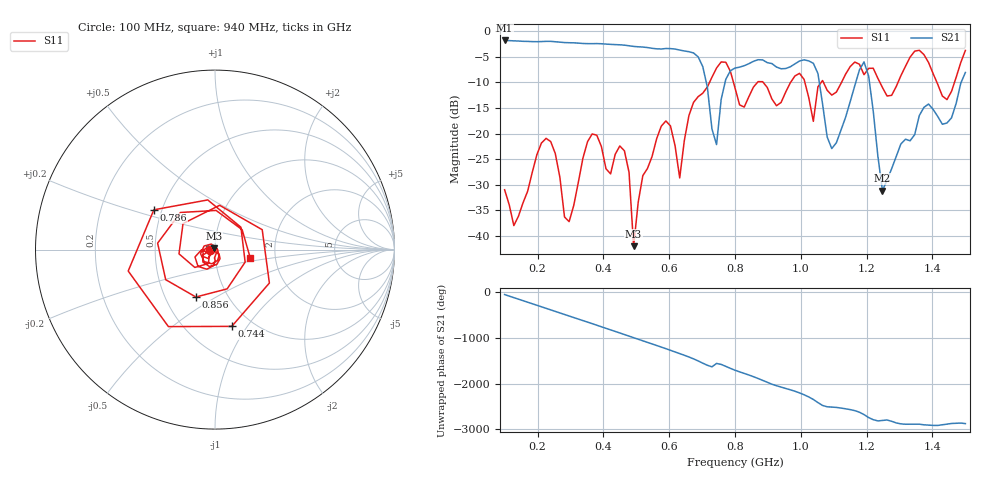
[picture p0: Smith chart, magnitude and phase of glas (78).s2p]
! NanoVNA-App
! Date: 2025-09-25 15:56:05
! Start: 100MHz Stop: 1,5GHz Points: 101
! S-Parameter data: F S11 S21 S12 S22
# Hz S RI R 50
!  Frequency  S11_Real  S11_Imag  S21_Real  S21_Imag  S12_Real  S12_Imag  S22_Real  S22_Imag
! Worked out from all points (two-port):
!   101 points, 100 MHz to 1.5 GHz, reference 50 ohm
!   highest |S21| = -1.80 dB at 100 MHz (marker M1); lowest = -31.1 dB at 1.248 GHz (marker M2)
!   |S21| within 3 dB of the highest: start of sweep to 684.3 MHz
!   lowest |S11| = -42.0 dB at 492 MHz (marker M3), VSWR 1.02, Z = 49.5 + j0.621 ohm
!   |S11| at or under -10 dB: start of sweep to 722.5 MHz; 795.4 MHz to 868 MHz (72.6 MHz wide, 8.73 % of centre); 885.9 MHz to 968.9 MHz (83.03 MHz wide, 8.95 % of centre) (the widest 3 of 7)
!   S12 and S22 are empty: the file has one direction only
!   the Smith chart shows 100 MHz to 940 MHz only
!   S11 on the Smith chart (normalised r, x): 100 MHz: 0.95, -0.01; 744 MHz: 0.80, -0.85; 786 MHz: 0.45, +0.24; 856 MHz: 0.71, -0.41; 940 MHz: 1.48, -0.14
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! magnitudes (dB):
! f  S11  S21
! 100 MHz  -31.0  -1.8
! 128 MHz  -37.9  -1.9
! 226 MHz  -20.9  -2.0
! 296 MHz  -37.2  -2.2
! 338 MHz  -24.8  -2.4
! 464 MHz  -23.3  -2.7
! 492 MHz  -42.0  -3.0
! 576 MHz  -18.5  -3.5
! 632 MHz  -28.6  -3.7
! 702 MHz  -12.1  -6.9
! 744 MHz  -7.2  -22.1
! 786 MHz  -7.8  -7.7
! 800 MHz  -11.1  -7.2
! 856 MHz  -10.9  -5.9
! 940 MHz  -13.9  -7.3
! 996 MHz  -8.2  -5.8
! 1.038 GHz  -17.6  -6.3
! 1.094 GHz  -12.5  -22.9
! 1.192 GHz  -8.5  -6.0
! 1.248 GHz  -11.0  -31.1
! 1.276 GHz  -12.5  -26.8
! 1.5 GHz  -3.7  -8.1
